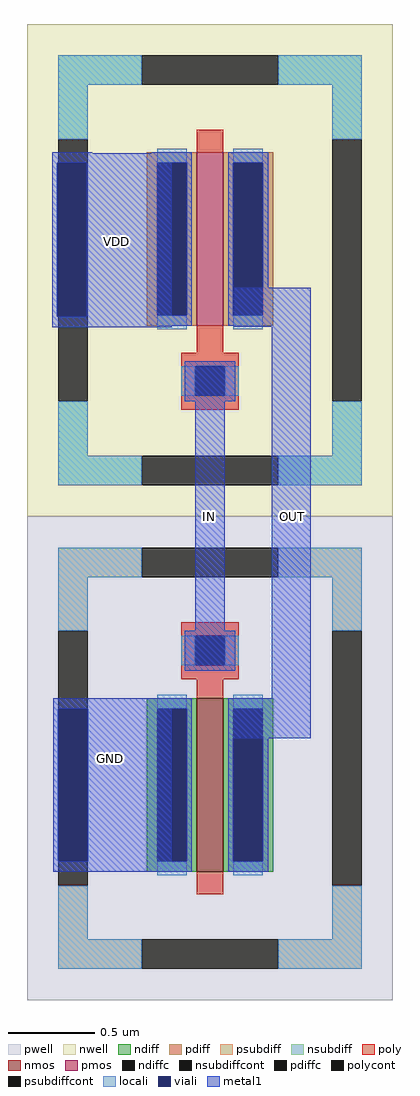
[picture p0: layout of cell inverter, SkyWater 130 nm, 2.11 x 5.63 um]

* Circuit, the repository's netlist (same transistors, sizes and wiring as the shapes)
** sch_path: /home/surya/inverter/inverter.sch
.subckt inverter vdd in out gnd
*.PININFO vdd:I in:I gnd:I out:O
XM1 out in gnd gnd sky130_fd_pr__nfet_01v8 L=0.15 W=1 nf=1 m=1
XM2 out in vdd vdd sky130_fd_pr__pfet_01v8 L=0.15 W=1 nf=1 m=1
.ends
.end

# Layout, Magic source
magic
tech sky130A
magscale 1 2
<< pwell >>
rect -53 93 194 515
<< viali >>
rect -18 809 16 987
rect -17 181 17 357
<< metal1 >>
rect -24 998 22 999
rect -24 987 114 998
rect -24 809 -18 987
rect 16 809 114 987
rect -24 797 114 809
rect 186 798 274 843
rect 141 407 175 751
rect 229 369 274 798
rect -23 357 114 369
rect -23 181 -17 357
rect 17 181 114 357
rect 182 323 220 369
rect 222 323 274 369
rect -23 169 114 181
use sky130_fd_pr__nfet_01v8_64Z3AY  XM1
transform 1 0 158 0 1 300
box -211 -279 211 279
use sky130_fd_pr__pfet_01v8_LGS3BL  XM2
transform 1 0 158 0 1 863
box -211 -284 211 284
<< labels >>
flabel metal1 50 896 50 896 0 FreeSans 160 0 0 0 VDD
port 0 nsew
flabel metal1 43 300 43 300 0 FreeSans 160 0 0 0 GND
port 1 nsew
flabel metal1 157 579 157 579 0 FreeSans 160 0 0 0 IN
port 2 nsew
flabel metal1 253 579 253 579 0 FreeSans 160 0 0 0 OUT
port 3 nsew
<< end >>

# cell sky130_fd_pr__nfet_01v8_64Z3AY: kit device sky130_fd_pr__nfet_01v8, w 1.0 l 0.15 m 1 nf 1 diffcov 100 polycov 100 guard 1 glc 1 grc 1 gtc 1 gbc 1 tbcov 100 rlcov 100 topc 1 botc 0 poverlap 0 doverlap 1 lmin 0.15 wmin 0.42 compatible {sky130_fd_pr__nfet_01v8 sky130_fd_pr__nfet_01v8_lvt sky130_fd_bs_flash__special_sonosfet_star sky130_fd_pr__nfet_g5v0d10v5 sky130_fd_pr__nfet_05v0_nvt sky130_fd_pr__nfet_03v3_nvt} full_metal 1 viasrc 100 viadrn 100 viagate 100 viagb 0 viagr 0 viagl 0 viagt 0

# cell sky130_fd_pr__pfet_01v8_LGS3BL: kit device sky130_fd_pr__pfet_01v8, w 1.0 l 0.15 m 1 nf 1 diffcov 100 polycov 100 guard 1 glc 1 grc 1 gtc 1 gbc 1 tbcov 100 rlcov 100 topc 0 botc 1 poverlap 0 doverlap 1 lmin 0.15 wmin 0.42 compatible {sky130_fd_pr__pfet_01v8 sky130_fd_pr__pfet_01v8_lvt sky130_fd_pr__pfet_01v8_hvt sky130_fd_pr__pfet_g5v0d10v5} full_metal 1 viasrc 100 viadrn 100 viagate 100 viagb 0 viagr 0 viagl 0 viagt 0
